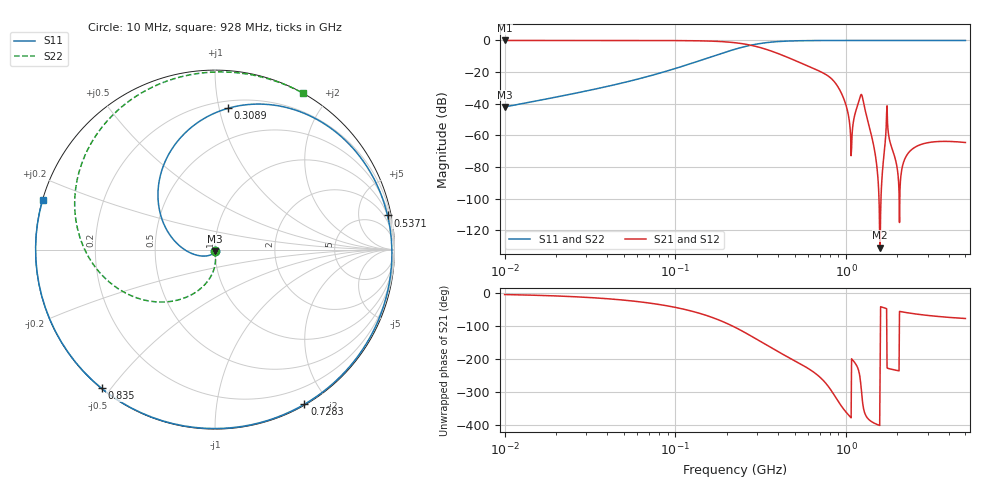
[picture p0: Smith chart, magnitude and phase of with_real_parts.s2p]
! Created with skrf 1.11.0 (http://scikit-rf.org).
# Hz S RI R 50.0
!freq ReS11 ImS11 ReS21 ImS21 ReS12 ImS12 ReS22 ImS22
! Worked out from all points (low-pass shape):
!   1001 points, 10 MHz to 5 GHz, reference 50 ohm
!   highest |S21| = 0.00 dB at 10 MHz (marker M1); lowest = -130.9 dB at 1.584 GHz (marker M2)
!   |S21| within 3 dB of the highest: start of sweep to 276.2 MHz
!   lowest |S11| = -42.0 dB at 10 MHz (marker M3), VSWR 1.02, Z = 49.9 - j0.778 ohm
!   |S11| at or under -10 dB: start of sweep to 165.7 MHz
!   |S22| runs from -42.0 to 0.0 dB; largest |S21 - S12| = 2.8e-10
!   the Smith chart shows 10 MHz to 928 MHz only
!   S11 on the Smith chart (normalised r, x): 10 MHz: 1.00, -0.02; 308.9 MHz: 0.25, +1.06; 537.1 MHz: 1, +10; 728.3 MHz: 0.01, -1.73; 835 MHz: 0.00, -0.47; 928 MHz: 0.00, +0.14
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1e7  -0.00136 -0.0078  0.9973 -0.0732  0.9973 -0.0732  0.000202 -0.00792
2.823111e7  -0.0108 -0.021  0.9784 -0.2055  0.9784 -0.2055  0.00142 -0.0236
7.969957e7  -0.0836 -0.0347  0.8258 -0.5566  0.8258 -0.5566  -0.000847 -0.0905
2.236068e8  -0.2978 0.4368  -0.1933 -0.8265  -0.1933 -0.8265  -0.4607 -0.2594
3.089096e8  0.0732 0.7874  -0.492 -0.3641  -0.492 -0.3641  -0.7744 0.1602
5.37081e8  0.9612 0.1901  -0.1672 0.1092  -0.1672 0.1092  -0.2124 0.9566
6.312669e8  0.9404 -0.3112  -0.0782 0.1124  -0.0782 0.1124  0.0354 0.99
7.282648e8  0.4979 -0.8619  -0.014 0.0949  -0.014 0.0949  0.2286 0.9688
8.349619e8  -0.6323 -0.7727  0.0292 0.0486  0.0292 0.0486  0.3861 0.9207
9.280025e8  -0.961 0.2756  0.0227 0.00933  0.0227 0.00933  0.4898 0.8715
1.070596e9  -0.0571 0.9984  0.000218 -6.67e-05  0.000218 -6.67e-05  0.6055 0.7958
1.175195e9  0.8193 0.5733  -0.00656 0.0074  -0.00656 0.0074  0.6675 0.7445
1.219843e9  0.5573 -0.8301  0.00161 0.0189  0.00161 0.0189  0.6896 0.724
1.27408e9  -0.819 0.5737  0.00924 0.000764  0.00924 0.000764  0.7137 0.7003
1.339024e9  -0.1823 0.9832  0.00279 -0.000937  0.00279 -0.000937  0.7393 0.6734
1.583655e9  0.4529 0.8916  -2.17e-07 1.86e-07  -2.18e-07 1.86e-07  0.8106 0.5856
1.64382e9  0.5169 0.856  7.94e-05 -7.48e-05  7.94e-05 -7.48e-05  0.8239 0.5668
1.716909e9  0.5788 0.8154  0.00118 -0.00124  0.00118 -0.00124  0.8403 0.5421
1.782137e9  0.6222 0.7828  -0.000602 0.000674  -0.000602 0.000674  0.8477 0.5304
2.055972e9  0.7443 0.6678  1.01e-06 -1.45e-06  1.01e-06 -1.45e-06  0.8852 0.4652
2.719387e9  0.8697 0.4935  0.000217 -0.000459  0.000217 -0.000459  0.9337 0.3581
5e9  0.9649 0.2625  0.000138 -0.000581  0.000138 -0.000581  0.9802 0.1982
